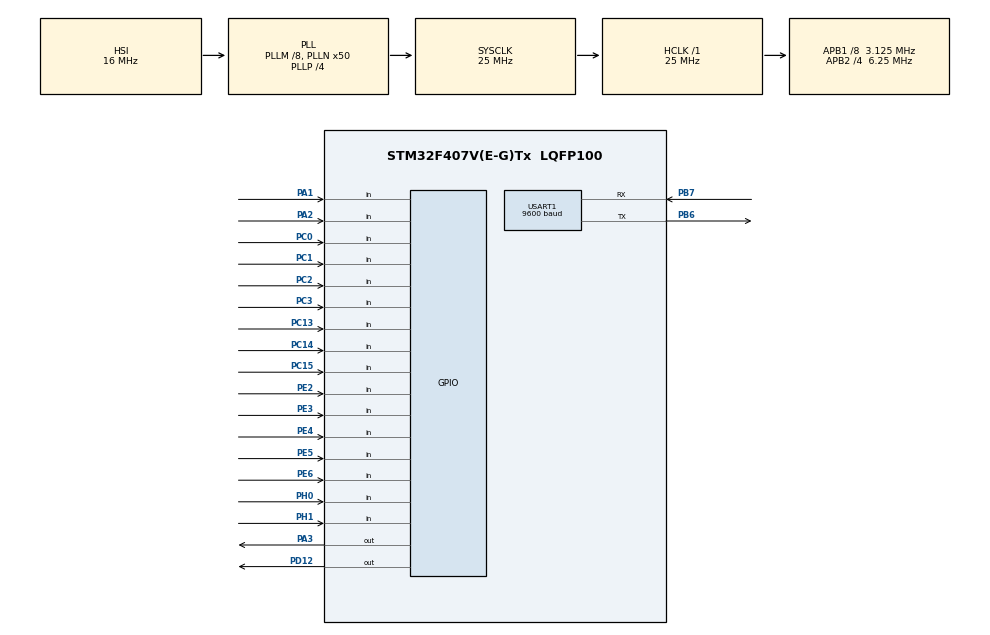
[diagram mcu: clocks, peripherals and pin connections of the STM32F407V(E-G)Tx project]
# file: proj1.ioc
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Mcu.Family=STM32F4
Mcu.Name=STM32F407V(E-G)Tx
Mcu.Package=LQFP100
NVIC.PriorityGroup=NVIC_PRIORITYGROUP_0
NVIC.TIM2_IRQn=true\:0\:0\:false\:false\:true\:true\:true
PA1.Signal=GPIO_Input
PA2.Signal=GPIO_Input
PA3.Signal=GPIO_Output
PB6.Mode=Asynchronous
PB6.Signal=USART1_TX
PB7.Mode=Asynchronous
PB7.Signal=USART1_RX
PC0.Signal=GPIO_Input
PC1.Signal=GPIO_Input
PC13-ANTI_TAMP.Signal=GPIO_Input
PC14-OSC32_IN.Signal=GPIO_Input
PC15-OSC32_OUT.Signal=GPIO_Input
PC2.Signal=GPIO_Input
PC3.Signal=GPIO_Input
PD12.Signal=GPIO_Output
PE2.Signal=GPIO_Input
PE3.Signal=GPIO_Input
PE4.Signal=GPIO_Input
PE5.Signal=GPIO_Input
PE6.Signal=GPIO_Input
PH0-OSC_IN.Signal=GPIO_Input
PH1-OSC_OUT.Signal=GPIO_Input
ProjectManager.HeapSize=0x200
ProjectManager.StackSize=0x400
ProjectManager.TargetToolchain=MDK-ARM V5
RCC.48MHZClocksFreq_Value=14285714.285714285
RCC.AHBFreq_Value=25000000
RCC.APB1CLKDivider=RCC_HCLK_DIV8
RCC.APB1Freq_Value=3125000
RCC.APB1TimFreq_Value=6250000
RCC.APB2CLKDivider=RCC_HCLK_DIV4
RCC.APB2Freq_Value=6250000
RCC.APB2TimFreq_Value=12500000
RCC.CortexFreq_Value=25000000
RCC.HCLKFreq_Value=25000000
RCC.HSE_VALUE=8000000
RCC.HSI_VALUE=16000000
RCC.LSE_VALUE=32768
RCC.PLLM=8
RCC.PLLN=50
RCC.PLLP=RCC_PLLP_DIV4
RCC.PLLQ=7
RCC.SYSCLKFreq_VALUE=25000000
RCC.SYSCLKSource=RCC_SYSCLKSOURCE_PLLCLK
RCC.VCOOutputFreq_Value=100000000
TIM2.Period=12
TIM2.Prescaler=11
USART1.BaudRate=9600
USART1.VirtualMode=VM_ASYNC
VP_TIM2_VS_ClockSourceINT.Mode=Internal
board=STM32F4DISCOVERY

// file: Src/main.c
/* USER CODE BEGIN Header */
/**
  ******************************************************************************
  * @file           : main.c
  * @brief          : Main program body
  ******************************************************************************
  * @attention
  *
  * <h2><center>&copy; Copyright (c) 2019 STMicroelectronics.
  * All rights reserved.</center></h2>
  *
  * This software component is licensed by ST under BSD 3-Clause license,
  * the "License"; You may not use this file except in compliance with the
  * License. You may obtain a copy of the License at:
  *                        opensource.org/licenses/BSD-3-Clause
  *
  ******************************************************************************
  */
/* USER CODE END Header */

#include "main.h"

/* USER CODE BEGIN PD */
#define OFF 0
#define ON 1

#define NUM_BUTTONS 16
#define DEBOUNCE_DELAY_MS 100
/* USER CODE END PD */

TIM_HandleTypeDef htim2;
UART_HandleTypeDef huart1;

/* USER CODE BEGIN PV */
typedef struct
{
	GPIO_TypeDef* GPIO_bank;
	uint16_t GPIO_pin;
	uint64_t counter; // Used for debouncing
	uint8_t status;   // Indicates whether or not the button is pressed
} button;
/* USER CODE END PV */

void SystemClock_Config(void);
static void MX_GPIO_Init(void);
static void MX_USART1_UART_Init(void);
static void MX_TIM2_Init(void);
/* USER CODE BEGIN PFP */
uint32_t Ms_Tick(void);
void Button_Init(button* button, GPIO_TypeDef* GPIO_bank, uint16_t GPIO_pin);
void Buttons_Init(button buttons[]);
void Read_Button(button button);
uint8_t Encode_UART_Packet(button buttons[]);
void Send_Radio_Bit(uint8_t bit);
void Send_Radio_Byte(uint8_t packet);
/* USER CODE END PFP */

int main(void)
{
  /* USER CODE BEGIN 1 */
	button buttons[16];
	uint32_t ms_counter = Ms_Tick();
	uint8_t i;
	uint8_t packet;
  /* USER CODE END 1 */

  /* MCU Configuration--------------------------------------------------------*/

  /* Reset of all peripherals, Initializes the Flash interface and the Systick. */
  HAL_Init();

  /* Configure the system clock */
  SystemClock_Config();

  /* Initialize all configured peripherals */
  MX_GPIO_Init();
  MX_USART1_UART_Init();
  MX_TIM2_Init();
  /* USER CODE BEGIN 2 */
	Buttons_Init(buttons);
  /* USER CODE END 2 */

  /* Infinite loop */
  while (1)
  {

    /* USER CODE BEGIN 3 */
		if (Ms_Tick() - ms_counter > 0)
		{
			for (i = 0; i < 16; i++)
			{
				Read_Button(buttons[i]);
			}
			ms_counter++;

			packet = Encode_UART_Packet(buttons);
			HAL_UART_Transmit(&huart1, &packet, 1, 10);
		}
  }
  /* USER CODE END 3 */
}

void SystemClock_Config(void)
{
  RCC_OscInitTypeDef RCC_OscInitStruct = {0};
  RCC_ClkInitTypeDef RCC_ClkInitStruct = {0};

  /** Configure the main internal regulator output voltage
  */
  __HAL_RCC_PWR_CLK_ENABLE();
  __HAL_PWR_VOLTAGESCALING_CONFIG(PWR_REGULATOR_VOLTAGE_SCALE1);
  /** Initializes the CPU, AHB and APB busses clocks
  */
  RCC_OscInitStruct.OscillatorType = RCC_OSCILLATORTYPE_HSI;
  RCC_OscInitStruct.HSIState = RCC_HSI_ON;
  RCC_OscInitStruct.HSICalibrationValue = RCC_HSICALIBRATION_DEFAULT;
  RCC_OscInitStruct.PLL.PLLState = RCC_PLL_ON;
  RCC_OscInitStruct.PLL.PLLSource = RCC_PLLSOURCE_HSI;
  RCC_OscInitStruct.PLL.PLLM = 8;
  RCC_OscInitStruct.PLL.PLLN = 50;
  RCC_OscInitStruct.PLL.PLLP = RCC_PLLP_DIV4;
  RCC_OscInitStruct.PLL.PLLQ = 7;
  if (HAL_RCC_OscConfig(&RCC_OscInitStruct) != HAL_OK)
  {
    Error_Handler();
  }
  /** Initializes the CPU, AHB and APB busses clocks
  */
  RCC_ClkInitStruct.ClockType = RCC_CLOCKTYPE_HCLK|RCC_CLOCKTYPE_SYSCLK
                              |RCC_CLOCKTYPE_PCLK1|RCC_CLOCKTYPE_PCLK2;
  RCC_ClkInitStruct.SYSCLKSource = RCC_SYSCLKSOURCE_PLLCLK;
  RCC_ClkInitStruct.AHBCLKDivider = RCC_SYSCLK_DIV1;
  RCC_ClkInitStruct.APB1CLKDivider = RCC_HCLK_DIV8;
  RCC_ClkInitStruct.APB2CLKDivider = RCC_HCLK_DIV4;

  if (HAL_RCC_ClockConfig(&RCC_ClkInitStruct, FLASH_LATENCY_0) != HAL_OK)
  {
    Error_Handler();
  }
}

static void MX_TIM2_Init(void)
{

  TIM_ClockConfigTypeDef sClockSourceConfig = {0};
  TIM_MasterConfigTypeDef sMasterConfig = {0};

  htim2.Instance = TIM2;
  htim2.Init.Prescaler = 11;
  htim2.Init.CounterMode = TIM_COUNTERMODE_UP;
  htim2.Init.Period = 12;
  htim2.Init.ClockDivision = TIM_CLOCKDIVISION_DIV1;
  htim2.Init.AutoReloadPreload = TIM_AUTORELOAD_PRELOAD_DISABLE;
  if (HAL_TIM_Base_Init(&htim2) != HAL_OK)
  {
    Error_Handler();
  }
  sClockSourceConfig.ClockSource = TIM_CLOCKSOURCE_INTERNAL;
  if (HAL_TIM_ConfigClockSource(&htim2, &sClockSourceConfig) != HAL_OK)
  {
    Error_Handler();
  }
  sMasterConfig.MasterOutputTrigger = TIM_TRGO_RESET;
  sMasterConfig.MasterSlaveMode = TIM_MASTERSLAVEMODE_DISABLE;
  if (HAL_TIMEx_MasterConfigSynchronization(&htim2, &sMasterConfig) != HAL_OK)
  {
    Error_Handler();
  }
  /* USER CODE BEGIN TIM2_Init 2 */
	// HAL_TIM_Base_Start(&htim2);
  /* USER CODE END TIM2_Init 2 */

}

static void MX_USART1_UART_Init(void)
{

  huart1.Instance = USART1;
  huart1.Init.BaudRate = 9600;
  huart1.Init.WordLength = UART_WORDLENGTH_8B;
  huart1.Init.StopBits = UART_STOPBITS_1;
  huart1.Init.Parity = UART_PARITY_NONE;
  huart1.Init.Mode = UART_MODE_TX_RX;
  huart1.Init.HwFlowCtl = UART_HWCONTROL_NONE;
  huart1.Init.OverSampling = UART_OVERSAMPLING_16;
  if (HAL_UART_Init(&huart1) != HAL_OK)
  {
    Error_Handler();
  }

}

static void MX_GPIO_Init(void)
{
  GPIO_InitTypeDef GPIO_InitStruct = {0};

  /* GPIO Ports Clock Enable */
  __HAL_RCC_GPIOE_CLK_ENABLE();
  __HAL_RCC_GPIOC_CLK_ENABLE();
  __HAL_RCC_GPIOH_CLK_ENABLE();
  __HAL_RCC_GPIOA_CLK_ENABLE();
  __HAL_RCC_GPIOD_CLK_ENABLE();
  __HAL_RCC_GPIOB_CLK_ENABLE();

  /*Configure GPIO pin Output Level */
  HAL_GPIO_WritePin(GPIOA, GPIO_PIN_3, GPIO_PIN_RESET);

  /*Configure GPIO pin Output Level */
  HAL_GPIO_WritePin(GPIOD, GPIO_PIN_12, GPIO_PIN_RESET);

  /*Configure GPIO pins : PE2 PE3 PE4 PE5
                           PE6 */
  GPIO_InitStruct.Pin = GPIO_PIN_2|GPIO_PIN_3|GPIO_PIN_4|GPIO_PIN_5
                          |GPIO_PIN_6;
  GPIO_InitStruct.Mode = GPIO_MODE_INPUT;
  GPIO_InitStruct.Pull = GPIO_NOPULL;
  HAL_GPIO_Init(GPIOE, &GPIO_InitStruct);

  /*Configure GPIO pins : PC13 PC14 PC15 PC0
                           PC1 PC2 PC3 */
  GPIO_InitStruct.Pin = GPIO_PIN_13|GPIO_PIN_14|GPIO_PIN_15|GPIO_PIN_0
                          |GPIO_PIN_1|GPIO_PIN_2|GPIO_PIN_3;
  GPIO_InitStruct.Mode = GPIO_MODE_INPUT;
  GPIO_InitStruct.Pull = GPIO_NOPULL;
  HAL_GPIO_Init(GPIOC, &GPIO_InitStruct);

  /*Configure GPIO pins : PH0 PH1 */
  GPIO_InitStruct.Pin = GPIO_PIN_0|GPIO_PIN_1;
  GPIO_InitStruct.Mode = GPIO_MODE_INPUT;
  GPIO_InitStruct.Pull = GPIO_NOPULL;
  HAL_GPIO_Init(GPIOH, &GPIO_InitStruct);

  /*Configure GPIO pins : PA1 PA2 */
  GPIO_InitStruct.Pin = GPIO_PIN_1|GPIO_PIN_2;
  GPIO_InitStruct.Mode = GPIO_MODE_INPUT;
  GPIO_InitStruct.Pull = GPIO_NOPULL;
  HAL_GPIO_Init(GPIOA, &GPIO_InitStruct);

  /*Configure GPIO pin : PA3 */
  GPIO_InitStruct.Pin = GPIO_PIN_3;
  GPIO_InitStruct.Mode = GPIO_MODE_OUTPUT_PP;
  GPIO_InitStruct.Pull = GPIO_NOPULL;
  GPIO_InitStruct.Speed = GPIO_SPEED_FREQ_LOW;
  HAL_GPIO_Init(GPIOA, &GPIO_InitStruct);

  /*Configure GPIO pin : PD12 */
  GPIO_InitStruct.Pin = GPIO_PIN_12;
  GPIO_InitStruct.Mode = GPIO_MODE_OUTPUT_PP;
  GPIO_InitStruct.Pull = GPIO_NOPULL;
  GPIO_InitStruct.Speed = GPIO_SPEED_FREQ_LOW;
  HAL_GPIO_Init(GPIOD, &GPIO_InitStruct);

}

/* USER CODE BEGIN 4 */
uint32_t Ms_Tick(void)
{
	return HAL_GetTick();
}

void Button_Init(button* button, GPIO_TypeDef* GPIO_bank, uint16_t GPIO_pin)
{
	button->GPIO_bank = GPIO_bank;
	button->GPIO_pin = GPIO_pin;
	button->counter = 0;
	button->status = 0;
}
/**
  * @brief Initializes the array of structs of type button
  * @param buttons[]: an array of structs of type button
  * @retval None
  */
void Buttons_Init(button buttons[])
{
	Button_Init(&buttons[0], GPIOE, GPIO_PIN_2); // PE2
	Button_Init(&buttons[1], GPIOE, GPIO_PIN_3); // PE3
	Button_Init(&buttons[2], GPIOE, GPIO_PIN_4); // PE4
	Button_Init(&buttons[3], GPIOE, GPIO_PIN_5); // PE5
	Button_Init(&buttons[4], GPIOE, GPIO_PIN_6); // PE6
	Button_Init(&buttons[5], GPIOC, GPIO_PIN_13); // PC13
	Button_Init(&buttons[6], GPIOC, GPIO_PIN_14); // PC14
	Button_Init(&buttons[7], GPIOC, GPIO_PIN_15); // PC15
	Button_Init(&buttons[8], GPIOC, GPIO_PIN_0); // PC0
	Button_Init(&buttons[9], GPIOC, GPIO_PIN_1); // PC1
	Button_Init(&buttons[10], GPIOC, GPIO_PIN_2); // PC2
	Button_Init(&buttons[11], GPIOC, GPIO_PIN_3); // PC3
	Button_Init(&buttons[12], GPIOH, GPIO_PIN_0);
	Button_Init(&buttons[13], GPIOH, GPIO_PIN_1);
	Button_Init(&buttons[14], GPIOA, GPIO_PIN_1);
	Button_Init(&buttons[15], GPIOA, GPIO_PIN_2);
}

/**
  * @brief Reads and debounces the pin corresponding to the button
  * @param button: a struct of type button
  * @retval None
  */
void Read_Button(button button)
{
	if (HAL_GPIO_ReadPin(button.GPIO_bank, button.GPIO_pin) == GPIO_PIN_SET)
	{
		button.counter++;
	}
	else
	{
		button.counter = 0;
		button.status = OFF;
	}
	if (button.counter == DEBOUNCE_DELAY_MS)
	{
		button.counter = 0;
		button.status = ON;
	}
}

uint8_t Encode_UART_Packet(button buttons[])
{
	uint8_t i;
	uint8_t packet = 0;

	for (i = 0; i < NUM_BUTTONS; i++)
	{
		if (buttons[i].status == ON)
		{
			packet = i;
			packet <<= 4; // Upper 4 bits are ID
			packet |= 1;  // LSB is status
		}
	}
	return packet;
}
/*
void Send_Radio_Bit(uint8_t bit)
{
	return;
}

void Send_Radio_Byte(uint8_t packet)
{
	uint16_t i;
	uint8_t bit_to_send;

	for (i = 0; i < 8; moving_one *= 2)
	{
		bit_to_send = packet & moving_one;
		if (bit_to_send != 0)

		Send_Radio_Bit(bit_to_send);
	}
}
*/
/* USER CODE END 4 */

void Error_Handler(void)
{
}

/************************ (C) COPYRIGHT STMicroelectronics *****END OF FILE****/
